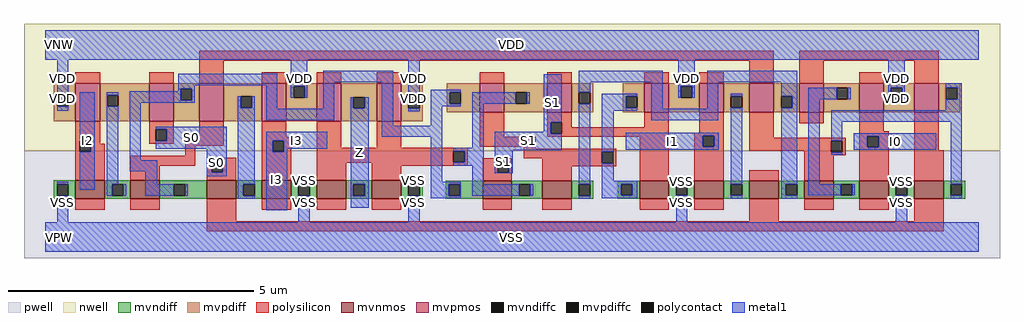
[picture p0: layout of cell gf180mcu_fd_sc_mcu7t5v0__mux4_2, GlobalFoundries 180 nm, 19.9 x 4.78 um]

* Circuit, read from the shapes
.subckt gf180mcu_fd_sc_mcu7t5v0__mux4_2 I0 I1 I2 I3 S0 S1 Z VDD VNW VPW VSS
XM1 n1 I2 VSS VPW nfet_06v0 w=0.38u l=0.6u
XM2 n2 n3 n1 VPW nfet_06v0 w=0.38u l=0.6u
XM3 n4 S0 n2 VPW nfet_06v0 w=0.38u l=0.6u
XM4 VSS I3 n4 VPW nfet_06v0 w=0.38u l=0.6u
XM5 Z n5 VSS VPW nfet_06v0 w=0.38u l=0.6u m=2
XM6 n5 S1 n2 VPW nfet_06v0 w=0.365u l=0.6u
XM7 n6 n7 n5 VPW nfet_06v0 w=0.365u l=0.6u
XM8 VSS S1 n7 VPW nfet_06v0 w=0.365u l=0.6u
XM9 n8 I1 VSS VPW nfet_06v0 w=0.365u l=0.6u
XM10 n6 S0 n8 VPW nfet_06v0 w=0.365u l=0.6u
XM11 n9 n3 n6 VPW nfet_06v0 w=0.365u l=0.6u
XM12 VSS I0 n9 VPW nfet_06v0 w=0.365u l=0.6u
XM13 n3 S0 VSS VPW nfet_06v0 w=0.365u l=0.6u
XM14 n1 I2 VDD VNW pfet_06v0 w=0.78u l=0.5u
XM15 n2 S0 n1 VNW pfet_06v0 w=0.78u l=0.5u
XM16 n4 n3 n2 VNW pfet_06v0 w=0.78u l=0.5u
XM17 VDD I3 n4 VNW pfet_06v0 w=0.78u l=0.5u
XM18 Z n5 VDD VNW pfet_06v0 w=0.78u l=0.5u m=2
XM19 n5 n7 n2 VNW pfet_06v0 w=0.595u l=0.5u
XM20 n6 S1 n5 VNW pfet_06v0 w=0.595u l=0.5u
XM21 VDD S1 n7 VNW pfet_06v0 w=0.595u l=0.5u
XM22 n8 I1 VDD VNW pfet_06v0 w=0.595u l=0.5u
XM23 n6 n3 n8 VNW pfet_06v0 w=0.595u l=0.5u
XM24 n9 S0 n6 VNW pfet_06v0 w=0.595u l=0.5u
XM25 VDD I0 n9 VNW pfet_06v0 w=0.595u l=0.5u
XM26 n3 S0 VDD VNW pfet_06v0 w=0.595u l=0.5u
.ends

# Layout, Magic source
magic
tech gf180mcuD
magscale 1 10
<< nwell >>
rect -86 352 3894 870
<< pwell >>
rect -86 -86 3894 352
<< mvnmos >>
rect 124 156 244 232
rect 348 156 468 232
rect 660 156 780 232
rect 884 156 1004 232
rect 1108 156 1228 232
rect 1332 156 1452 232
rect 1784 156 1904 229
rect 2027 156 2147 229
rect 2424 156 2544 229
rect 2648 156 2768 229
rect 2872 156 2992 229
rect 3096 156 3216 229
rect 3320 156 3440 229
rect 3544 156 3664 229
<< mvpmos >>
rect 124 472 224 628
rect 424 472 524 628
rect 628 472 728 628
rect 884 472 984 628
rect 1108 472 1208 628
rect 1352 472 1452 628
rect 1772 509 1872 628
rect 2048 509 2148 628
rect 2444 509 2544 628
rect 2668 509 2768 628
rect 2872 509 2972 628
rect 3076 509 3176 628
rect 3320 509 3420 628
rect 3544 509 3644 628
<< mvndiff >>
rect 36 215 124 232
rect 36 169 49 215
rect 95 169 124 215
rect 36 156 124 169
rect 244 215 348 232
rect 244 169 273 215
rect 319 169 348 215
rect 244 156 348 169
rect 468 215 660 232
rect 468 169 525 215
rect 571 169 660 215
rect 468 156 660 169
rect 780 215 884 232
rect 780 169 809 215
rect 855 169 884 215
rect 780 156 884 169
rect 1004 215 1108 232
rect 1004 169 1033 215
rect 1079 169 1108 215
rect 1004 156 1108 169
rect 1228 215 1332 232
rect 1228 169 1257 215
rect 1303 169 1332 215
rect 1228 156 1332 169
rect 1452 215 1540 232
rect 1452 169 1481 215
rect 1527 169 1540 215
rect 1452 156 1540 169
rect 1634 215 1784 229
rect 1634 169 1647 215
rect 1693 169 1784 215
rect 1634 156 1784 169
rect 1904 215 2027 229
rect 1904 169 1933 215
rect 1979 169 2027 215
rect 1904 156 2027 169
rect 2147 215 2236 229
rect 2147 169 2177 215
rect 2223 169 2236 215
rect 2147 156 2236 169
rect 2336 216 2424 229
rect 2336 170 2349 216
rect 2395 170 2424 216
rect 2336 156 2424 170
rect 2544 216 2648 229
rect 2544 170 2573 216
rect 2619 170 2648 216
rect 2544 156 2648 170
rect 2768 216 2872 229
rect 2768 170 2797 216
rect 2843 170 2872 216
rect 2768 156 2872 170
rect 2992 216 3096 229
rect 2992 170 3021 216
rect 3067 170 3096 216
rect 2992 156 3096 170
rect 3216 216 3320 229
rect 3216 170 3245 216
rect 3291 170 3320 216
rect 3216 156 3320 170
rect 3440 216 3544 229
rect 3440 170 3469 216
rect 3515 170 3544 216
rect 3440 156 3544 170
rect 3664 216 3752 229
rect 3664 170 3693 216
rect 3739 170 3752 216
rect 3664 156 3752 170
<< mvpdiff >>
rect 36 579 124 628
rect 36 533 49 579
rect 95 533 124 579
rect 36 472 124 533
rect 224 579 424 628
rect 224 533 253 579
rect 299 533 424 579
rect 224 472 424 533
rect 524 605 628 628
rect 524 559 553 605
rect 599 559 628 605
rect 524 472 628 559
rect 728 574 884 628
rect 728 528 797 574
rect 843 528 884 574
rect 728 472 884 528
rect 984 615 1108 628
rect 984 569 1013 615
rect 1059 569 1108 615
rect 984 472 1108 569
rect 1208 571 1352 628
rect 1208 525 1257 571
rect 1303 525 1352 571
rect 1208 472 1352 525
rect 1452 571 1540 628
rect 1452 525 1481 571
rect 1527 525 1540 571
rect 1452 472 1540 525
rect 1637 590 1772 628
rect 1637 544 1650 590
rect 1696 544 1772 590
rect 1637 509 1772 544
rect 1872 590 2048 628
rect 1872 544 1919 590
rect 1965 544 2048 590
rect 1872 509 2048 544
rect 2148 590 2236 628
rect 2148 544 2177 590
rect 2223 544 2236 590
rect 2148 509 2236 544
rect 2356 574 2444 628
rect 2356 528 2369 574
rect 2415 528 2444 574
rect 2356 509 2444 528
rect 2544 615 2668 628
rect 2544 569 2593 615
rect 2639 569 2668 615
rect 2544 509 2668 569
rect 2768 574 2872 628
rect 2768 528 2797 574
rect 2843 528 2872 574
rect 2768 509 2872 528
rect 2972 574 3076 628
rect 2972 528 3001 574
rect 3047 528 3076 574
rect 2972 509 3076 528
rect 3176 609 3320 628
rect 3176 563 3228 609
rect 3274 563 3320 609
rect 3176 509 3320 563
rect 3420 609 3544 628
rect 3420 563 3449 609
rect 3495 563 3544 609
rect 3420 509 3544 563
rect 3644 609 3732 628
rect 3644 563 3673 609
rect 3719 563 3732 609
rect 3644 509 3732 563
<< mvndiffc >>
rect 49 169 95 215
rect 273 169 319 215
rect 525 169 571 215
rect 809 169 855 215
rect 1033 169 1079 215
rect 1257 169 1303 215
rect 1481 169 1527 215
rect 1647 169 1693 215
rect 1933 169 1979 215
rect 2177 169 2223 215
rect 2349 170 2395 216
rect 2573 170 2619 216
rect 2797 170 2843 216
rect 3021 170 3067 216
rect 3245 170 3291 216
rect 3469 170 3515 216
rect 3693 170 3739 216
<< mvpdiffc >>
rect 49 533 95 579
rect 253 533 299 579
rect 553 559 599 605
rect 797 528 843 574
rect 1013 569 1059 615
rect 1257 525 1303 571
rect 1481 525 1527 571
rect 1650 544 1696 590
rect 1919 544 1965 590
rect 2177 544 2223 590
rect 2369 528 2415 574
rect 2593 569 2639 615
rect 2797 528 2843 574
rect 3001 528 3047 574
rect 3228 563 3274 609
rect 3449 563 3495 609
rect 3673 563 3719 609
<< polysilicon >>
rect 628 720 2972 760
rect 124 628 224 672
rect 424 628 524 672
rect 628 628 728 720
rect 884 628 984 672
rect 1108 628 1208 672
rect 1352 628 1452 672
rect 1772 628 1872 672
rect 2048 628 2148 672
rect 2444 628 2544 672
rect 2668 628 2768 672
rect 2872 628 2972 720
rect 3076 720 3644 760
rect 3076 628 3176 720
rect 3320 628 3420 672
rect 3544 628 3644 720
rect 124 394 224 472
rect 124 348 141 394
rect 187 380 224 394
rect 424 439 524 472
rect 424 393 451 439
rect 497 393 524 439
rect 628 412 728 472
rect 424 380 524 393
rect 187 348 244 380
rect 124 232 244 348
rect 572 372 728 412
rect 884 408 984 472
rect 884 394 1004 408
rect 572 332 612 372
rect 348 292 612 332
rect 884 348 928 394
rect 974 348 1004 394
rect 660 311 780 324
rect 348 232 468 292
rect 660 265 679 311
rect 725 265 780 311
rect 660 232 780 265
rect 884 232 1004 348
rect 1108 364 1208 472
rect 1352 364 1452 472
rect 1772 409 1872 509
rect 2048 468 2148 509
rect 2048 422 2061 468
rect 2107 449 2148 468
rect 2444 449 2544 509
rect 2107 422 2544 449
rect 2668 426 2768 509
rect 2048 409 2544 422
rect 1772 369 2000 409
rect 1108 351 1724 364
rect 1108 305 1665 351
rect 1711 305 1724 351
rect 1952 361 2000 369
rect 1952 348 2329 361
rect 1952 321 2270 348
rect 1108 304 1724 305
rect 1108 232 1228 304
rect 1332 292 1724 304
rect 1784 308 1904 321
rect 1332 232 1452 292
rect 1784 262 1845 308
rect 1891 262 1904 308
rect 1784 229 1904 262
rect 2027 302 2270 321
rect 2316 302 2329 348
rect 2027 289 2329 302
rect 2027 229 2147 289
rect 2424 229 2544 409
rect 2648 414 2768 426
rect 2648 368 2682 414
rect 2728 368 2768 414
rect 2648 229 2768 368
rect 2872 405 2972 509
rect 3076 465 3176 509
rect 3320 431 3420 509
rect 3320 412 3440 431
rect 2872 392 3264 405
rect 2872 352 3205 392
rect 3096 346 3205 352
rect 3251 346 3264 392
rect 3096 333 3264 346
rect 3320 366 3353 412
rect 3399 366 3440 412
rect 2872 229 2992 273
rect 3096 229 3216 333
rect 3320 229 3440 366
rect 3544 355 3644 509
rect 3544 229 3664 355
rect 124 112 244 156
rect 348 112 468 156
rect 660 64 780 156
rect 884 112 1004 156
rect 1108 112 1228 156
rect 1332 112 1452 156
rect 1784 112 1904 156
rect 2027 112 2147 156
rect 2424 112 2544 156
rect 2648 112 2768 156
rect 2872 64 2992 156
rect 3096 112 3216 156
rect 3320 112 3440 156
rect 3544 64 3664 156
rect 660 24 3664 64
<< polycontact >>
rect 141 348 187 394
rect 451 393 497 439
rect 928 348 974 394
rect 679 265 725 311
rect 2061 422 2107 468
rect 1665 305 1711 351
rect 1845 262 1891 308
rect 2270 302 2316 348
rect 2682 368 2728 414
rect 3205 346 3251 392
rect 3353 366 3399 412
<< metal1 >>
rect 0 724 3808 844
rect 49 579 95 724
rect 542 620 947 666
rect 542 605 610 620
rect 542 594 553 605
rect 49 515 95 533
rect 141 394 202 590
rect 187 348 202 394
rect 49 215 95 226
rect 141 194 202 348
rect 252 579 299 590
rect 252 533 253 579
rect 252 215 299 533
rect 345 559 553 594
rect 599 559 610 605
rect 345 548 610 559
rect 345 314 391 548
rect 786 528 797 574
rect 843 528 855 574
rect 451 439 740 450
rect 497 393 740 439
rect 451 360 740 393
rect 345 268 458 314
rect 408 215 458 268
rect 660 311 740 360
rect 660 265 679 311
rect 725 265 740 311
rect 660 248 740 265
rect 786 215 855 528
rect 901 523 947 620
rect 1002 615 1070 724
rect 1002 569 1013 615
rect 1059 569 1070 615
rect 1134 631 1419 678
rect 1134 523 1180 631
rect 901 476 1180 523
rect 1246 525 1257 571
rect 1303 525 1320 571
rect 252 169 273 215
rect 319 169 330 215
rect 408 169 525 215
rect 571 169 582 215
rect 786 169 809 215
rect 49 60 95 169
rect 786 156 855 169
rect 901 394 1151 430
rect 901 348 928 394
rect 974 360 1151 394
rect 974 348 987 360
rect 901 110 987 348
rect 1033 215 1079 232
rect 1033 60 1079 169
rect 1246 215 1320 525
rect 1373 455 1419 631
rect 1481 571 1527 724
rect 1481 514 1527 525
rect 1573 590 1696 601
rect 1573 544 1650 590
rect 1573 533 1696 544
rect 1742 544 1919 590
rect 1965 544 1976 590
rect 1573 455 1619 533
rect 1373 409 1619 455
rect 1246 169 1257 215
rect 1303 169 1320 215
rect 1246 120 1320 169
rect 1481 215 1527 232
rect 1481 60 1527 169
rect 1573 226 1619 409
rect 1742 364 1788 544
rect 2033 468 2107 664
rect 2033 430 2061 468
rect 1665 351 1788 364
rect 1711 305 1788 351
rect 1665 292 1788 305
rect 1573 215 1696 226
rect 1573 169 1647 215
rect 1693 169 1696 215
rect 1742 215 1788 292
rect 1834 422 2061 430
rect 1834 354 2107 422
rect 2177 632 2518 678
rect 2177 590 2223 632
rect 1834 308 1907 354
rect 1834 262 1845 308
rect 1891 262 1907 308
rect 1834 261 1907 262
rect 2177 215 2223 544
rect 1742 169 1933 215
rect 1979 169 1990 215
rect 1573 158 1696 169
rect 2177 156 2223 169
rect 2269 574 2415 585
rect 2269 528 2369 574
rect 2269 515 2415 528
rect 2472 523 2518 632
rect 2581 615 2650 724
rect 2581 569 2593 615
rect 2639 569 2650 615
rect 2700 632 3067 678
rect 2700 523 2746 632
rect 2269 348 2319 515
rect 2472 476 2746 523
rect 2797 574 2843 585
rect 2367 414 2747 426
rect 2367 368 2682 414
rect 2728 368 2747 414
rect 2367 356 2747 368
rect 2269 302 2270 348
rect 2316 302 2319 348
rect 2269 229 2319 302
rect 2269 216 2415 229
rect 2269 170 2349 216
rect 2395 170 2415 216
rect 2269 159 2415 170
rect 2573 216 2619 229
rect 2573 60 2619 170
rect 2797 216 2843 528
rect 2797 156 2843 170
rect 3001 574 3067 632
rect 3438 609 3506 724
rect 3047 528 3067 574
rect 3001 216 3067 528
rect 3001 170 3021 216
rect 3113 563 3228 609
rect 3274 563 3285 609
rect 3438 563 3449 609
rect 3495 563 3506 609
rect 3672 609 3739 628
rect 3672 563 3673 609
rect 3719 563 3739 609
rect 3113 216 3159 563
rect 3672 517 3739 563
rect 3205 471 3739 517
rect 3205 392 3251 471
rect 3297 412 3635 424
rect 3297 366 3353 412
rect 3399 366 3635 412
rect 3297 356 3635 366
rect 3205 335 3251 346
rect 3469 216 3515 229
rect 3113 170 3245 216
rect 3291 170 3302 216
rect 3001 156 3067 170
rect 3469 60 3515 170
rect 3693 216 3739 471
rect 3693 156 3739 170
rect 0 -60 3808 60
<< labels >>
flabel metal1 s 3297 356 3635 424 0 FreeSans 400 0 0 0 I0
port 1 nsew default input
flabel metal1 s 1481 229 1527 232 0 FreeSans 400 0 0 0 VSS
port 11 nsew ground bidirectional abutment
flabel metal1 s 0 724 3808 844 0 FreeSans 400 0 0 0 VDD
port 8 nsew power bidirectional abutment
flabel metal1 s 141 194 202 590 0 FreeSans 400 0 0 0 I2
port 3 nsew default input
flabel metal1 s 2367 356 2747 426 0 FreeSans 400 0 0 0 I1
port 2 nsew default input
flabel metal1 s 451 360 740 450 0 FreeSans 400 0 0 0 S0
port 5 nsew default input
flabel metal1 s 901 360 1151 430 0 FreeSans 400 0 0 0 I3
port 4 nsew default input
flabel metal1 s 2033 430 2107 664 0 FreeSans 400 0 0 0 S1
port 6 nsew default input
flabel metal1 s 1246 120 1320 571 0 FreeSans 400 0 0 0 Z
port 7 nsew default output
flabel nwell s 10 734 110 834 0 FreeSans 400 0 0 0 VNW
port 9 nsew power bidirectional
flabel pwell s 10 -50 110 50 0 FreeSans 400 0 0 0 VPW
port 10 nsew ground bidirectional
rlabel metal1 s 901 110 987 360 1 I3
port 4 nsew default input
rlabel metal1 s 660 248 740 360 1 S0
port 5 nsew default input
rlabel metal1 s 1834 354 2107 430 1 S1
port 6 nsew default input
rlabel metal1 s 1834 261 1907 354 1 S1
port 6 nsew default input
rlabel metal1 s 3438 569 3506 724 1 VDD
port 8 nsew power bidirectional abutment
rlabel metal1 s 2581 569 2650 724 1 VDD
port 8 nsew power bidirectional abutment
rlabel metal1 s 1481 569 1527 724 1 VDD
port 8 nsew power bidirectional abutment
rlabel metal1 s 1002 569 1070 724 1 VDD
port 8 nsew power bidirectional abutment
rlabel metal1 s 49 569 95 724 1 VDD
port 8 nsew power bidirectional abutment
rlabel metal1 s 3438 563 3506 569 1 VDD
port 8 nsew power bidirectional abutment
rlabel metal1 s 1481 563 1527 569 1 VDD
port 8 nsew power bidirectional abutment
rlabel metal1 s 49 563 95 569 1 VDD
port 8 nsew power bidirectional abutment
rlabel metal1 s 1481 515 1527 563 1 VDD
port 8 nsew power bidirectional abutment
rlabel metal1 s 49 515 95 563 1 VDD
port 8 nsew power bidirectional abutment
rlabel metal1 s 1481 514 1527 515 1 VDD
port 8 nsew power bidirectional abutment
rlabel metal1 s 1033 229 1079 232 1 VSS
port 11 nsew ground bidirectional abutment
rlabel metal1 s 3469 226 3515 229 1 VSS
port 11 nsew ground bidirectional abutment
rlabel metal1 s 2573 226 2619 229 1 VSS
port 11 nsew ground bidirectional abutment
rlabel metal1 s 1481 226 1527 229 1 VSS
port 11 nsew ground bidirectional abutment
rlabel metal1 s 1033 226 1079 229 1 VSS
port 11 nsew ground bidirectional abutment
rlabel metal1 s 3469 60 3515 226 1 VSS
port 11 nsew ground bidirectional abutment
rlabel metal1 s 2573 60 2619 226 1 VSS
port 11 nsew ground bidirectional abutment
rlabel metal1 s 1481 60 1527 226 1 VSS
port 11 nsew ground bidirectional abutment
rlabel metal1 s 1033 60 1079 226 1 VSS
port 11 nsew ground bidirectional abutment
rlabel metal1 s 49 60 95 226 1 VSS
port 11 nsew ground bidirectional abutment
rlabel metal1 s 0 -60 3808 60 1 VSS
port 11 nsew ground bidirectional abutment
<< properties >>
string FIXED_BBOX 0 0 3808 784
string GDS_END 689984
string GDS_FILE $PDKPATH/libs.ref/gf180mcu_fd_sc_mcu7t5v0/gds/gf180mcu_fd_sc_mcu7t5v0.gds
string GDS_START 681926
string LEFclass core
string LEFsite GF018hv5v_mcu_sc7
string LEFsymmetry X Y
<< end >>
